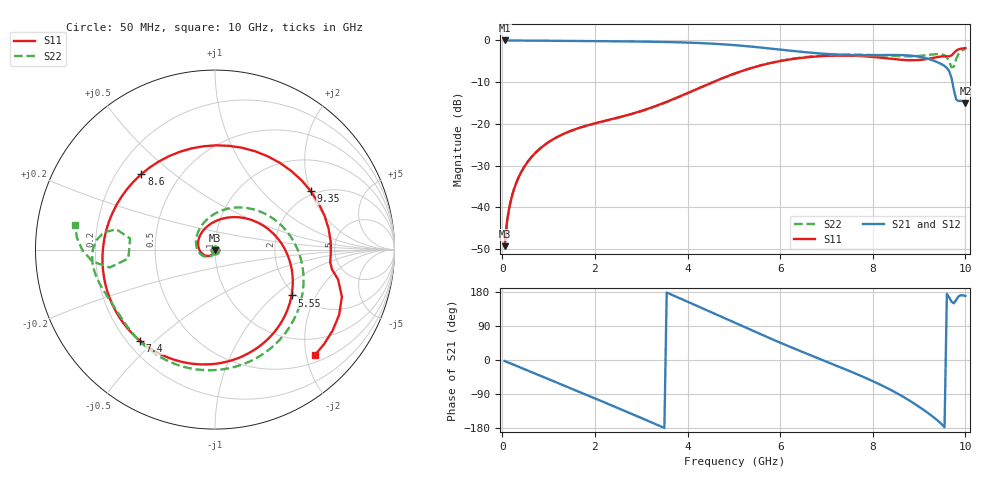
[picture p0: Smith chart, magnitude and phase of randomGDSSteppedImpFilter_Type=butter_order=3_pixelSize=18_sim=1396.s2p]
! freq	dB(S11)	phase(S11)	dB(S12)	phase(S12)
!  dB(S21)	phase(S21)	dB(S22)	phase(S22)
!S-par simulation data
#  GHz  S  DB  R 50
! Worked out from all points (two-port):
!   200 points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, 50 MHz to 10 GHz, reference 50 ohm
!   highest |S21| = 0.00 dB at 50 MHz (marker M1); lowest = -15.0 dB at 10 GHz (marker M2)
!   |S21| within 3 dB of the highest: start of sweep to 6.729 GHz
!   lowest |S11| = -49.3 dB at 50 MHz (marker M3), VSWR 1.01, Z = 50 - j0.343 ohm
!   |S11| at or under -10 dB: start of sweep to 4.543 GHz
!   |S22| runs from -49.3 to -2.0 dB; largest |S21 - S12| = 0
!   S11 on the Smith chart (normalised r, x): 50 MHz: 1.00, -0.01; 5.55 GHz: 1.91, -1.30; 7.4 GHz: 0.25, -0.45; 8.6 GHz: 0.30, +0.39; 9.35 GHz: 1.88, +2.01; 10 GHz: 0.63, -2.16
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0.05  -49.29 -87.8  -0.00 -2.6  -0.00 -2.6  -49.27 -87.5
0.2  -37.64 -99.8  -0.02 -10.2  -0.02 -10.2  -37.63 -98.3
0.5  -29.86 -117.8  -0.04 -25.3  -0.04 -25.3  -29.84 -113.8
1.15  -23.35 -154.2  -0.09 -58.2  -0.09 -58.2  -23.36 -144.8
1.75  -20.64 172.0  -0.14 -88.6  -0.14 -88.6  -20.66 -172.6
2.5  -18.47 129.5  -0.21 -126.9  -0.21 -126.9  -18.53 152.7
3.4  -15.35 80.4  -0.34 -174.0  -0.34 -174.0  -15.42 107.8
4.1  -12.12 44.2  -0.55 148.5  -0.55 148.5  -12.17 69.6
5.05  -7.80 -4.8  -1.16 96.5  -1.16 96.5  -7.81 16.0
5.55  -6.07 -30.9  -1.67 69.4  -1.67 69.4  -6.07 -11.3
6.1  -4.74 -59.5  -2.32 40.6  -2.32 40.6  -4.70 -39.6
6.7  -3.92 -90.6  -2.98 10.5  -2.98 10.5  -3.81 -68.1
7.4  -3.64 -129.3  -3.45 -24.2  -3.45 -24.2  -3.41 -98.4
7.95  -3.90 -165.6  -3.53 -53.0  -3.53 -53.0  -3.49 -120.1
8.35  -4.34 160.6  -3.48 -76.5  -3.48 -76.5  -3.69 -134.5
8.6  -4.62 134.3  -3.50 -93.1  -3.50 -93.1  -3.79 -142.8
9  -4.68 82.4  -3.90 -123.4  -3.90 -123.4  -3.70 -155.8
9.35  -4.08 31.4  -5.00 -154.6  -5.00 -154.6  -3.30 -170.9
9.55  -3.80 4.2  -6.12 -177.4  -6.12 -177.4  -3.58 175.4
9.7  -3.59 -9.6  -8.98 154.2  -8.98 154.2  -6.43 172.6
9.8  -2.45 -20.3  -14.10 158.5  -14.10 158.5  -4.51 -170.3
10  -1.83 -46.7  -14.98 169.0  -14.98 169.0  -2.02 170.2
